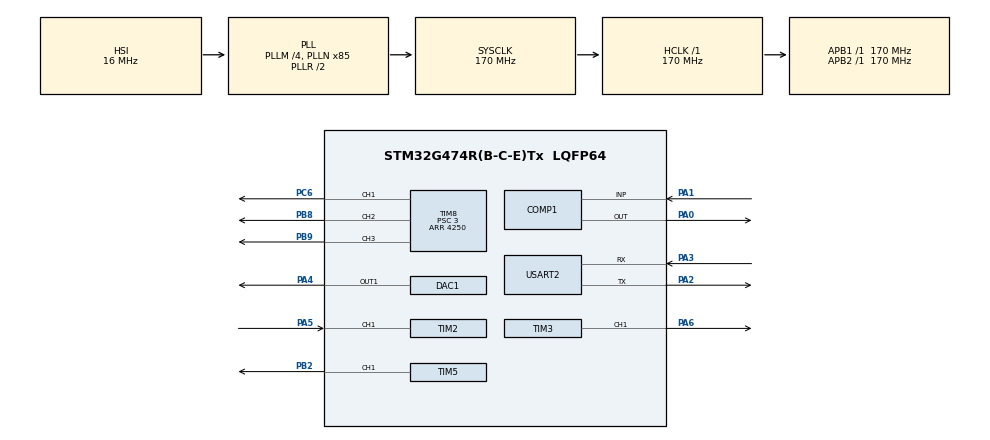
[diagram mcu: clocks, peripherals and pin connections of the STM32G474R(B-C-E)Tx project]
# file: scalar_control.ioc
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COMP1.Hysteresis=COMP_HYSTERESIS_50MV
Mcu.Family=STM32G4
Mcu.Name=STM32G474R(B-C-E)Tx
Mcu.Package=LQFP64
NVIC.PriorityGroup=NVIC_PRIORITYGROUP_4
NVIC.TIM2_IRQn=true\:2\:0\:true\:false\:true\:true\:true\:true
NVIC.TIM8_UP_IRQn=true\:0\:0\:false\:false\:true\:true\:true\:true
NVIC.USART2_IRQn=true\:3\:0\:true\:false\:true\:true\:true\:true
PA0.Mode=ExternalOutput
PA0.Signal=COMP1_OUT
PA1.Mode=INP
PA1.Signal=COMP1_INP
PA13.Mode=Serial_Wire
PA13.Signal=SYS_JTMS-SWDIO
PA14.Mode=Serial_Wire
PA14.Signal=SYS_JTCK-SWCLK
PA2.Mode=Asynchronous
PA2.Signal=USART2_TX
PA3.Mode=Asynchronous
PA3.Signal=USART2_RX
PA4.Signal=COMP_DAC11_group
PA5.Signal=S_TIM2_CH1
PA6.Signal=S_TIM3_CH1
PB2.Signal=S_TIM5_CH1
PB8-BOOT0.Signal=S_TIM8_CH2
PB9.Signal=S_TIM8_CH3
PC6.Signal=S_TIM8_CH1
PF0-OSC_IN.Mode=HSE-External-Oscillator
PF0-OSC_IN.Signal=RCC_OSC_IN
PF1-OSC_OUT.Mode=HSE-External-Oscillator
PF1-OSC_OUT.Signal=RCC_OSC_OUT
ProjectManager.HeapSize=0x200
ProjectManager.StackSize=0x400
ProjectManager.TargetToolchain=STM32CubeIDE
RCC.ADC12Freq_Value=170000000
RCC.ADC345Freq_Value=170000000
RCC.AHBFreq_Value=170000000
RCC.APB1Freq_Value=170000000
RCC.APB1TimFreq_Value=170000000
RCC.APB2Freq_Value=170000000
RCC.APB2TimFreq_Value=170000000
RCC.CortexFreq_Value=170000000
RCC.EXTERNAL_CLOCK_VALUE=12288000
RCC.HCLKFreq_Value=170000000
RCC.HSE_VALUE=8000000
RCC.HSI48_VALUE=48000000
RCC.HSI_VALUE=16000000
RCC.LSE_VALUE=32768
RCC.PLLM=RCC_PLLM_DIV4
RCC.PLLN=85
RCC.SYSCLKFreq_VALUE=170000000
RCC.SYSCLKSource=RCC_SYSCLKSOURCE_PLLCLK
RCC.USBFreq_Value=170000000
RCC.VCOOutputFreq_Value=340000000
SH.COMP_DAC11_group.0=DAC1_OUT1,DAC_OUT1_ExtAndInt
SH.S_TIM2_CH1.0=TIM2_CH1,Input_Capture1_from_TI1
SH.S_TIM3_CH1.0=TIM3_CH1,PWM Generation1 CH1
SH.S_TIM5_CH1.0=TIM5_CH1,PWM Generation1 CH1
SH.S_TIM8_CH1.0=TIM8_CH1,PWM Generation1 CH1
SH.S_TIM8_CH2.0=TIM8_CH2,PWM Generation2 CH2
SH.S_TIM8_CH3.0=TIM8_CH3,PWM Generation3 CH3
TIM2.Channel-Input_Capture1_from_TI1=TIM_CHANNEL_1
TIM3.Channel-PWM\ Generation1\ CH1=TIM_CHANNEL_1
TIM3.PeriodNoDither=13332
TIM3.Prescaler=169
TIM5.Channel-PWM\ Generation1\ CH1=TIM_CHANNEL_1
TIM5.PeriodNoDither=6666
TIM5.Prescaler=169
TIM5.PulseNoDither_1=3333
TIM8.AutoReloadPreload=TIM_AUTORELOAD_PRELOAD_ENABLE
TIM8.Channel-PWM\ Generation1\ CH1=TIM_CHANNEL_1
TIM8.Channel-PWM\ Generation2\ CH2=TIM_CHANNEL_2
TIM8.Channel-PWM\ Generation3\ CH3=TIM_CHANNEL_3
TIM8.CounterMode=TIM_COUNTERMODE_CENTERALIGNED1
TIM8.PeriodNoDither=4250
TIM8.Prescaler=3
USART2.VirtualMode-Asynchronous=VM_ASYNC
VP_COMP1_VS_DAC1OUT1.Mode=INM_DAC1OUT1
VP_SYS_VS_DBSignals.Mode=DisableDeadBatterySignals
VP_TIM2_VS_ClockSourceINT.Mode=Internal
VP_TIM3_VS_ClockSourceINT.Mode=Internal
VP_TIM8_VS_ClockSourceINT.Mode=Internal
board=custom

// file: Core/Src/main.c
#include "dac.h"
#include "main.h"
#include "comp.h"
#include "tim.h"
#include "usart.h"
#include "gpio.h"
#include "math.h"
#include "string.h"
#include "stdlib.h"
#include "stdio.h"

float ref_speed  = 0.0f;
float Kp         = 0.0f;
float Ki         = 0.0f;
float integral   = 0.0f;

volatile uint8_t data_ready = 0;

#define FILTER_SIZE  6
float   rpm_buffer[FILTER_SIZE] = {0};
uint8_t rpm_buf_index = 0;
float   rpm_filtered  = 0.0f;
float multiplicator=5;

float f_out = 0.0f;
#define F_NOMINAL  50.0f
#define M_MAX      1.0f
#define MAX_RPM     1700.0f

#define F_CARRIER  5000.0f
#define ARR        4250U
#define TWO_PI     6.2831853f

#define PHASE_120  (TWO_PI / 3.0f)
#define PHASE_240  (TWO_PI * 2.0f / 3.0f)
float current_angle = 0.0f;

#define UART_BUF_SIZE 16
extern UART_HandleTypeDef huart2;

char uart_buf[UART_BUF_SIZE];
uint8_t uart_rx_byte;
uint8_t uart_index = 0;
uint8_t print_counter = 0;
#define TIM2_CLK    170000000.0f

uint32_t capture1        = 0;
uint32_t capture2        = 0;
uint32_t difference      = 0;
uint8_t  first_capture   = 0;
float    frequency       = 0.0f;
float    motor_rpm       = 0.0f;
uint32_t last_capture_time = 0;
char tx_buf[64];

void SystemClock_Config(void);
void syst_initialization(void);
float PI_Controller(float ref, float measured, float dt);
int main(void)
{
	syst_initialization();

  while (1)
  {

	  static uint32_t last_pi_time = 0;

	  if (HAL_GetTick() - last_pi_time >= 1000)
	  {

	      float dt = (HAL_GetTick() - last_pi_time) / 1000.0f;
	      last_pi_time = HAL_GetTick();

	      if (ref_speed > 0.0f)
	      {
	          /* Step 1: run PI, get correction in RPM */
	          float correction = PI_Controller(ref_speed, rpm_filtered, dt);

	          float ws = rpm_filtered + correction;

	          /* Step 3: convert RPM to Hz
	             one rotation per second = 1 Hz
	             60 RPM = 1 rotation per second = 1 Hz */
	          float feedforward = ref_speed * (50.0f / 1440.0f);

	          /* PI correction is small adjustment around feedforward */
	          float new_fout = feedforward + (correction / 60.0f);

	          /* Step 4: clamp to safe range */
	          if (new_fout > 50.0f) new_fout = 50.0f;
	          if (new_fout < 0.0f)  new_fout = 0.0f;
	          //float max_change = f_out * 0.05f;

	          /* Minimum change allowed so it can start from zero */
	          //if (max_change < 0.5f) max_change = 0.5f;

	          //f_out = new_fout;

	          /* Step 5: update f_out — SPWM picks this up automatically */
	          f_out = new_fout;
	      }
	      else
	      {

	    	  rpm_filtered = 0.0f;
	          integral = 0.0f;
	      }
	  }

	    if (data_ready == 1)
	    {
	        data_ready = 0;
	        if (print_counter >= 9)
	        {
	            print_counter = 0;
	            int len = snprintf(tx_buf, sizeof(tx_buf),
	                               "REF:%.0f RPM:%.1f FOUT:%.2f ERR:%.1f\r\n",
	                               ref_speed, rpm_filtered, f_out,
	                               ref_speed - rpm_filtered);
	            HAL_UART_Transmit(&huart2, (uint8_t*)tx_buf, len, 50);
	        }
	    }

	    if (HAL_GetTick() - last_capture_time > 500)
	    {

	    	if (motor_rpm > 0.0f)
	    	{
	    	    motor_rpm    = 0.0f;
	    	    rpm_filtered = 0.0f;
	    	    frequency    = 0.0f;
	    	    first_capture = 0;

	    	    /* Clear filter buffer so next startup begins fresh */
	    	    uint8_t i;
	    	    for (i = 0; i < FILTER_SIZE; i++)
	    	        rpm_buffer[i] = 0.0f;
	    	    rpm_buf_index = 0;

	    	    int len = snprintf(tx_buf, sizeof(tx_buf),
	    	                       "RPM: 0.0 | f_out: %.1f Hz\r\n", f_out);
	    	    HAL_UART_Transmit(&huart2, (uint8_t*)tx_buf, len, 50);
	    	}
	    }
  }
  /* USER CODE END 3 */
}

void SystemClock_Config(void)
{
  RCC_OscInitTypeDef RCC_OscInitStruct = {0};
  RCC_ClkInitTypeDef RCC_ClkInitStruct = {0};

  /** Configure the main internal regulator output voltage
  */
  HAL_PWREx_ControlVoltageScaling(PWR_REGULATOR_VOLTAGE_SCALE1_BOOST);

  /** Initializes the RCC Oscillators according to the specified parameters
  * in the RCC_OscInitTypeDef structure.
  */
  RCC_OscInitStruct.OscillatorType = RCC_OSCILLATORTYPE_HSI;
  RCC_OscInitStruct.HSIState = RCC_HSI_ON;
  RCC_OscInitStruct.HSICalibrationValue = RCC_HSICALIBRATION_DEFAULT;
  RCC_OscInitStruct.PLL.PLLState = RCC_PLL_ON;
  RCC_OscInitStruct.PLL.PLLSource = RCC_PLLSOURCE_HSI;
  RCC_OscInitStruct.PLL.PLLM = RCC_PLLM_DIV4;
  RCC_OscInitStruct.PLL.PLLN = 85;
  RCC_OscInitStruct.PLL.PLLP = RCC_PLLP_DIV2;
  RCC_OscInitStruct.PLL.PLLQ = RCC_PLLQ_DIV2;
  RCC_OscInitStruct.PLL.PLLR = RCC_PLLR_DIV2;
  if (HAL_RCC_OscConfig(&RCC_OscInitStruct) != HAL_OK)
  {
    Error_Handler();
  }

  /** Initializes the CPU, AHB and APB buses clocks
  */
  RCC_ClkInitStruct.ClockType = RCC_CLOCKTYPE_HCLK|RCC_CLOCKTYPE_SYSCLK
                              |RCC_CLOCKTYPE_PCLK1|RCC_CLOCKTYPE_PCLK2;
  RCC_ClkInitStruct.SYSCLKSource = RCC_SYSCLKSOURCE_PLLCLK;
  RCC_ClkInitStruct.AHBCLKDivider = RCC_SYSCLK_DIV1;
  RCC_ClkInitStruct.APB1CLKDivider = RCC_HCLK_DIV1;
  RCC_ClkInitStruct.APB2CLKDivider = RCC_HCLK_DIV1;

  if (HAL_RCC_ClockConfig(&RCC_ClkInitStruct, FLASH_LATENCY_4) != HAL_OK)
  {
    Error_Handler();
  }
}

/* USER CODE BEGIN 4 */
/* USER CODE BEGIN 4 */
void HAL_UART_RxCpltCallback(UART_HandleTypeDef *huart)
{
    if (huart->Instance != USART2)
        return;

    /* Echo the character back so you see it in the terminal */
    HAL_UART_Transmit(&huart2, &uart_rx_byte, 1, 10);

    if (uart_rx_byte == '\r' || uart_rx_byte == '\n')
    {
        uart_buf[uart_index] = '\0';

        /* Read the first character — that is the command */
        char  cmd   = uart_buf[0];

        /* Read the number after the command letter */
        float value = atof(&uart_buf[1]);

        if (cmd == 'R' || cmd == 'r')        /* Reference speed in RPM */
        {
            if (value >= 0.0f && value <= 1500.0f)
            {
                ref_speed = value;
                integral  = 0.0f;   /* reset integral on every new setpoint */
            }
        }
        else if (cmd == 'P' || cmd == 'p')   /* Kp gain */
        {
            Kp = value;
        }
        else if (cmd == 'I' || cmd == 'i')   /* Ki gain */
        {
            Ki = value;
        }
        else if (cmd == 'F' || cmd == 'f')   /* manual f_out, open loop still works */
        {
            if (value >= 0.0f && value <= 50.0f)
                f_out = value;
        }

        uart_index = 0;
    }
    else
    {
        if (uart_index < UART_BUF_SIZE - 1)
        {
            uart_buf[uart_index] = uart_rx_byte;
            uart_index++;
        }
    }

      /* Re-arm the interrupt to wait for the next byte */
      HAL_UART_Receive_IT(&huart2, &uart_rx_byte, 1);
}

void HAL_TIM_PeriodElapsedCallback(TIM_HandleTypeDef *htim)
{
    if (htim->Instance != TIM8)
        return;

    if (htim->Instance->CR1 & TIM_CR1_DIR)
        return;

    /* Advance the angle by one step */
    float angle_step = TWO_PI * f_out / F_CARRIER;
    current_angle += angle_step;

    /* Wrap back to zero after one full cycle */
    if (current_angle >= TWO_PI)
        current_angle -= TWO_PI;

    float sin_a = sinf(current_angle);
    float sin_b = sinf(current_angle - PHASE_120);
    float sin_c = sinf(current_angle - PHASE_240);
    float M = M_MAX * (f_out / F_NOMINAL);
    if (M > M_MAX) M = M_MAX;
    /* Convert each sine value into a CCR number (0 to ARR) */
    uint32_t ccr_a = (uint32_t)((ARR / 2.0f) * (1.0f + M * sin_a));
    uint32_t ccr_b = (uint32_t)((ARR / 2.0f) * (1.0f + M * sin_b));
    uint32_t ccr_c = (uint32_t)((ARR / 2.0f) * (1.0f + M * sin_c));

    /* Write duty cycles to all three channels */
    __HAL_TIM_SET_COMPARE(htim, TIM_CHANNEL_1, ccr_a);
    __HAL_TIM_SET_COMPARE(htim, TIM_CHANNEL_2, ccr_b);
    __HAL_TIM_SET_COMPARE(htim, TIM_CHANNEL_3, ccr_c);
}

float RPM_Filter(float new_rpm)
{
    uint8_t i;
    float sum;

    /* If value hit the ceiling it is fake — skip it entirely */
    if (new_rpm >= MAX_RPM)
        return rpm_filtered;

    /* Add real value to buffer */
    rpm_buffer[rpm_buf_index] = new_rpm;
    rpm_buf_index++;
    if (rpm_buf_index >= FILTER_SIZE)
        rpm_buf_index = 0;

    /* Average the last 3 real values */
    sum = 0.0f;
    for (i = 0; i < FILTER_SIZE; i++)
        sum += rpm_buffer[i];

    rpm_filtered = sum / FILTER_SIZE;
    return rpm_filtered;
}

void HAL_TIM_IC_CaptureCallback(TIM_HandleTypeDef *htim)
{
	    if (htim->Instance == TIM2)
    {
        if (first_capture == 0)
        {

            capture1      = HAL_TIM_ReadCapturedValue(htim, TIM_CHANNEL_1);
            first_capture = 1;
        }
        else
        {
            capture2 = HAL_TIM_ReadCapturedValue(htim, TIM_CHANNEL_1);
            if (capture2 >= capture1)
                difference = capture2 - capture1;
            else
                difference = (0xFFFFFFFF - capture1) + capture2 + 1;

            if (difference < 666)
            {
                first_capture = 0;
                return;
            }

            if (difference != 0)
            {
                frequency  = TIM2_CLK / (float)difference;
                motor_rpm  = frequency * multiplicator;

                if (motor_rpm > MAX_RPM)
                    motor_rpm = MAX_RPM;
                rpm_filtered = RPM_Filter(motor_rpm);
            }

            print_counter++;
            data_ready = 1;   /* tell main loop new data is available */
            first_capture = 0;
        }
    }

    last_capture_time = HAL_GetTick();
}
void syst_initialization(void)
{
HAL_Init();

SystemClock_Config();

MX_GPIO_Init();
MX_TIM8_Init();
MX_USART2_UART_Init();
MX_COMP1_Init();
MX_TIM2_Init();
MX_TIM5_Init();
MX_TIM3_Init();
MX_DAC1_Init();

/* USER CODE BEGIN 2 */
HAL_TIM_PWM_Start(&htim8, TIM_CHANNEL_1);
HAL_TIM_PWM_Start(&htim8, TIM_CHANNEL_2);
HAL_TIM_PWM_Start(&htim8, TIM_CHANNEL_3);
HAL_TIM_Base_Start_IT(&htim8);

HAL_DAC_Start(&hdac1, DAC_CHANNEL_1);
HAL_DAC_SetValue(&hdac1, DAC_CHANNEL_1, DAC_ALIGN_12B_R, 1985);

HAL_COMP_Start(&hcomp1);
/* USER CODE END 2 */
HAL_UART_Receive_IT(&huart2, &uart_rx_byte, 1);
/* Infinite loop */
HAL_TIM_PWM_Start(&htim5, TIM_CHANNEL_1);
HAL_TIM_PWM_Start(&htim3, TIM_CHANNEL_1);
__HAL_TIM_SET_COMPARE(&htim3, TIM_CHANNEL_1, 6666);
HAL_TIM_IC_Start_IT(&htim2, TIM_CHANNEL_1);

HAL_NVIC_SetPriority(TIM8_UP_IRQn,    0, 0);
HAL_NVIC_SetPriority(TIM2_IRQn,       2, 0);
HAL_NVIC_SetPriority(USART2_IRQn,     3, 0);

}
float PI_Controller(float ref, float measured, float dt)
{
    /* error = how far we are from the target
       if ref=500 and motor=300, error=200 RPM */
    float error = ref - measured;

    /* P part: instant reaction proportional to error
       big error = big correction
       small error = small correction */
    float P = Kp * error;

    /* I part: memory of past errors
       accumulates over time until error reaches zero
       dt = time in seconds since last call, keeps units correct */
    integral += Ki * error * dt;

    /* Anti-windup: if integral grows too big it causes overshoot
       clamp it to a safe range in RPM units */
    if (integral >  50.0f) integral =  50.0f;
    if (integral < -50.0f) integral = -50.0f;

    /* Final output = P + I combined */
    return P + integral;
}
/* USER CODE END 4 */
/* USER CODE END 4 */

void Error_Handler(void)
{

  __disable_irq();
  while (1)
  {
  }

}
